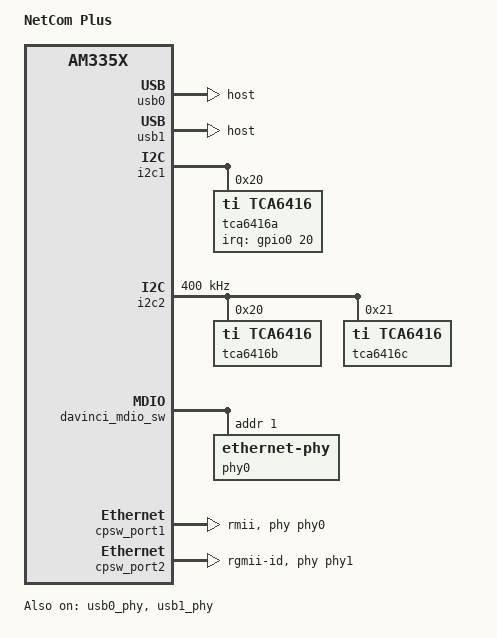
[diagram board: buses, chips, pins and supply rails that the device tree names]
// SPDX-License-Identifier: GPL-2.0-only
/*
 * Copyright (C) 2012 Texas Instruments Incorporated - https://www.ti.com/
 */

/*
 * VScom OnRISC
 * http://www.vscom.de
 */

/dts-v1/;

#include "am335x-baltos.dtsi"

/ {
	model = "NetCom Plus";
};

&am33xx_pinmux {
	pinctrl-names = "default";
	pinctrl-0 = <&dip_switches>;

	dip_switches: pinmux_dip_switches {
		pinctrl-single,pins = <
			AM33XX_PADCONF(AM335X_PIN_GPMC_AD12, PIN_INPUT_PULLDOWN, MUX_MODE7)
			AM33XX_PADCONF(AM335X_PIN_GPMC_AD13, PIN_INPUT_PULLDOWN, MUX_MODE7)
			AM33XX_PADCONF(AM335X_PIN_GPMC_AD14, PIN_INPUT_PULLDOWN, MUX_MODE7)
			AM33XX_PADCONF(AM335X_PIN_GPMC_AD15, PIN_INPUT_PULLDOWN, MUX_MODE7)
		>;
	};

	tca6416_pins: pinmux_tca6416_pins {
		pinctrl-single,pins = <
			AM33XX_PADCONF(AM335X_PIN_XDMA_EVENT_INTR1, PIN_INPUT_PULLUP, MUX_MODE7)
		>;
	};

	i2c2_pins: pinmux_i2c2_pins {
		pinctrl-single,pins = <
			AM33XX_PADCONF(AM335X_PIN_UART1_CTSN, PIN_INPUT_PULLDOWN, MUX_MODE3)
			AM33XX_PADCONF(AM335X_PIN_UART1_RTSN, PIN_INPUT_PULLDOWN, MUX_MODE3)
		>;
	};
};

&usb0_phy {
	status = "okay";
};

&usb1_phy {
	status = "okay";
};

&usb0 {
	status = "okay";
	dr_mode = "host";
};

&usb1 {
	status = "okay";
	dr_mode = "host";
};

&i2c1 {
	tca6416a: gpio@20 {
		compatible = "ti,tca6416";
		reg = <0x20>;
		gpio-controller;
		#gpio-cells = <2>;
		interrupt-parent = <&gpio0>;
		interrupts = <20 IRQ_TYPE_EDGE_RISING>;
		pinctrl-names = "default";
		pinctrl-0 = <&tca6416_pins>;
		gpio-line-names = "GP_IN0", "GP_IN1", "GP_IN2", "GP_IN3",
				  "GP_IN4", "GP_IN5", "GP_IN6", "GP_IN7",
				  "GP_OUT0", "GP_OUT1", "GP_OUT2", "GP_OUT3",
				  "GP_OUT4", "GP_OUT5", "GP_OUT6", "GP_OUT7";
	};
};

&i2c2 {
	pinctrl-names = "default";
	pinctrl-0 = <&i2c2_pins>;

	status = "okay";
	clock-frequency = <400000>;

	tca6416b: gpio@20 {
		compatible = "ti,tca6416";
		reg = <0x20>;
		gpio-controller;
		#gpio-cells = <2>;
		gpio-line-names = "CH1_M0", "CH1_M1", "CH1_M2", "CH1_M3",
				  "CH2_M0", "CH2_M1", "CH2_M2", "CH2_M3",
				  "CH3_M0", "CH3_M1", "CH3_M2", "CH3_M3",
				  "CH4_M0", "CH4_M1", "CH4_M2", "CH4_M3";
	};

	tca6416c: gpio@21 {
		compatible = "ti,tca6416";
		reg = <0x21>;
		gpio-controller;
		#gpio-cells = <2>;
		gpio-line-names = "CH5_M0", "CH5_M1", "CH5_M2", "CH5_M3",
				  "CH6_M0", "CH6_M1", "CH6_M2", "CH6_M3",
				  "CH7_M0", "CH7_M1", "CH7_M2", "CH7_M3",
				  "CH8_M0", "CH8_M1", "CH8_M2", "CH8_M3";
	};
};

&davinci_mdio_sw {
	phy0: ethernet-phy@0 {
		reg = <1>;
	};
};

&cpsw_port1 {
	phy-mode = "rmii";
	ti,dual-emac-pvid = <1>;
	phy-handle = <&phy0>;
};

&cpsw_port2 {
	phy-mode = "rgmii-id";
	ti,dual-emac-pvid = <2>;
	phy-handle = <&phy1>;
};

&gpio0 {
	gpio-line-names =
		"MDIO",
		"MDC",
		"NC",
		"NC",
		"I2C1_SDA",
		"I2C1_SCL",
		"NC",
		"NC",
		"NC",
		"NC",
		"NC",
		"NC",
		"I2C2_SDA",
		"I2C2_SCL",
		"NC",
		"NC",
		"onrisc:blue:wlan",
		"onrisc:green:app",
		"USB0_DRVVBUS",
		"ETH2_INT",
		"NC",
		"NC",
		"MMC1_DAT0",
		"MMC1_DAT1",
		"NC",
		"NC",
		"MMC1_DAT2",
		"MMC1_DAT3",
		"NC",
		"NC",
		"GPMC_WAIT0",
		"GPMC_WP_N";
};

&gpio1 {
	gpio-line-names =
		"GPMC_AD0",
		"GPMC_AD1",
		"GPMC_AD2",
		"GPMC_AD3",
		"GPMC_AD4",
		"GPMC_AD5",
		"GPMC_AD6",
		"GPMC_AD7",
		"NC",
		"NC",
		"CONSOLE_RX",
		"CONSOLE_TX",
		"SW2_0_alt",
		"SW2_1_alt",
		"SW2_2_alt",
		"SW2_3_alt",
		"RGMII2_TCTL",
		"RGMII2_RCTL",
		"RGMII2_TD3",
		"RGMII2_TD2",
		"RGMII2_TD1",
		"RGMII2_TD0",
		"RGMII2_TCLK",
		"RGMII2_RCLK",
		"RGMII2_RD3",
		"RGMII2_RD2",
		"RGMII2_RD1",
		"RGMII2_RD0",
		"PMIC_INT1",
		"GPMC_CSN0_Flash",
		"MMC1_CLK",
		"MMC1_CMD";
};

&gpio2 {
	gpio-line-names =
		"GPMC_CSN3_BUS",
		"GPMC_CLK",
		"GPMC_ADVN_ALE",
		"GPMC_OEN_RE_N",
		"GPMC_WE_N",
		"GPMC_BEN0_CLE",
		"NC",
		"NC",
		"NC",
		"NC",
		"NC",
		"NC",
		"NC",
		"NC",
		"NC",
		"NC",
		"NC",
		"NC",
		"SW2_0",
		"SW2_1",
		"NC",
		"NC",
		"NC",
		"NC",
		"NC",
		"NC",
		"MMC0_DAT3",
		"MMC0_DAT2",
		"MMC0_DAT1",
		"MMC0_DAT0",
		"MMC0_CLK",
		"MMC0_CMD";
};

&gpio3 {
	gpio-line-names =
		"onrisc:red:power",
		"NC",
		"NC",
		"NC",
		"3G_PWR_EN",
		"NC",
		"NC",
		"WLAN_IRQ",
		"WLAN_EN",
		"SW2_2",
		"SW2_3",
		"NC",
		"NC",
		"NC",
		"NC",
		"NC",
		"NC",
		"NC",
		"NC",
		"NC",
		"NC",
		"NC",
		"NC",
		"NC",
		"NC",
		"NC",
		"NC",
		"NC",
		"NC",
		"NC",
		"NC",
		"NC";
};
